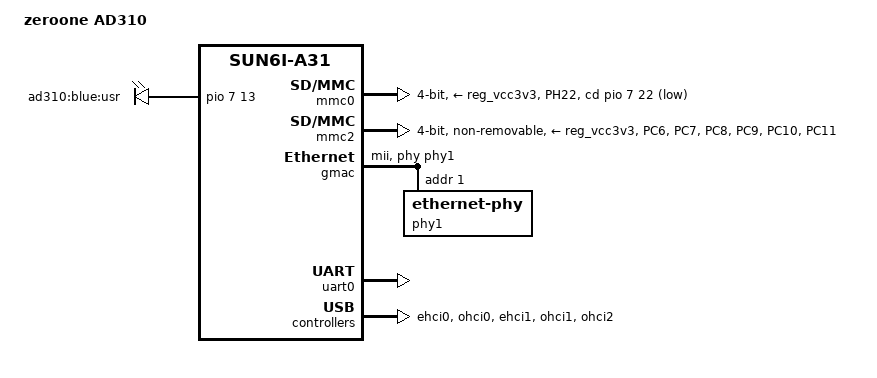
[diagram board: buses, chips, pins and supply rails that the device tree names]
/*
 * Copyright 2015 Tony Chyi <tonychee1989@gmailcom>
 *
 * The code contained herein is licensed under the GNU General Public
 * License. You may obtain a copy of the GNU General Public License
 * Version 2 or later at the following locations:
 *
 * http://www.opensource.org/licenses/gpl-license.html
 * http://www.gnu.org/copyleft/gpl.html
 */

/dts-v1/;
/include/ "sun6i-a31.dtsi"
/include/ "sunxi-common-regulators.dtsi"

/ {
	model = "zeroone AD310";
	compatible = "mele,m9", "allwinner,sun6i-a31";

	chosen {
		bootargs = "earlyprintk console=ttyS0,115200";
	};

	aliases {
		/* display0 = &hdmi; */
	};

	soc@01c00000 {
		mmc0: mmc@01c0f000 {
			pinctrl-names = "default";
			pinctrl-0 = <&mmc0_pins_a>, <&mmc0_cd_pin_m9>;
			vmmc-supply = <&reg_vcc3v3>;
			bus-width = <4>;
			cd-gpios = <&pio 7 22 0>; /* PH22 */
			cd-inverted;
			status = "okay";
		};

		/* FORESEE NCFSES78-08G */
		mmc2: mmc@01c11000 {
			pinctrl-names = "default";
			pinctrl-0 = <&mmc2_pins_a>;
			vmmc-supply = <&reg_vcc3v3>;
			bus-width = <4>;
			non-removable;
			status = "okay";
		};

		ahci: sata@01c18000 {
			compatible = "allwinner,sun4i-a10-ahci";
			reg = <0x01c18000 0x1000>;
			interrupts = <0 56 4>;
			clocks = <&pll6 0>, <&ahb1_gates 0>;
			target-supply = <&reg_ahci_5v>;
			status = "disabled";
		};

		pio: pinctrl@01c20800 {
			mmc0_cd_pin_m9: mmc0_cd_pin@0 {
				allwinner,pins = "PH22";
				allwinner,function = "gpio_in";
				allwinner,drive = <0>;
				allwinner,pull = <1>;
			};

			mmc2_pins_a: mmc2@0 {
				allwinner,pins = "PC6","PC7","PC8","PC9","PC10","PC11";
				allwinner,function = "mmc2";
				allwinner,drive = <2>;
				allwinner,pull = <0>;
			};

			led_pins_ad310: led_pins@0{
				allwinner,pins = "PH13";
				allwinner,function = "gpio_out";
				allwinner,drive = <0>;
				allwinner.pull = <0>;
			};
/*
            usb1_vbus_pin_ad310: usb1_vbus_pin@0{
                allwinner,pins = "PC27";
                allwinner,function = "gpio_out";
                allwinner,drive = <0>;
                allwinner,pull = <0>;
            }
*/						
		};

		/* REALTAK RTL8201CP */
		gmac: ethernet@01c30000 {
			pinctrl-names = "default";
			pinctrl-0 = <&gmac_pins_mii_a>;
			phy = <&phy1>;
			phy-mode = "mii";
			status = "okay";
			
			phy1: ethernet-phy@1{
				reg = <1>;
			};
		};

		uart0: serial@01c28000 {
			pinctrl-names = "default";
			pinctrl-0 = <&uart0_pins_a>;
			status = "okay";
		};

		usbphy: phy@01c19400 {
			usb1_vbus-supply = <&reg_usb1_vbus>;
			usb2_vbus-supply = <&reg_usb2_vbus>;
			status = "okay";
		};

		ehci0: usb@01c1a000 {
			status = "okay";
		};

		ohci0: usb@01c1a400 {
			status = "okay";
		};

		ehci1: usb@01c1b000 {
			status = "okay";
		};

		ohci1: usb@01c1b400 {
			status = "okay";
		};

		ohci2: usb@01c1c400 {
			status = "okay";
		};
	};

	leds {
		compatible = "gpio-leds";
		pinctrl-names = "default";
		pinctrl-0 = <&led_pins_ad310>;

		blue {
			label = "ad310:blue:usr";
			gpios = <&pio 7 13 0>;
			default-state = "on";
		};
	};

	reg_usb1_vbus: usb1-vbus {
		status = "okay";
	};

	reg_usb2_vbus: usb2-vbus {
		status = "okay";
	};
};
